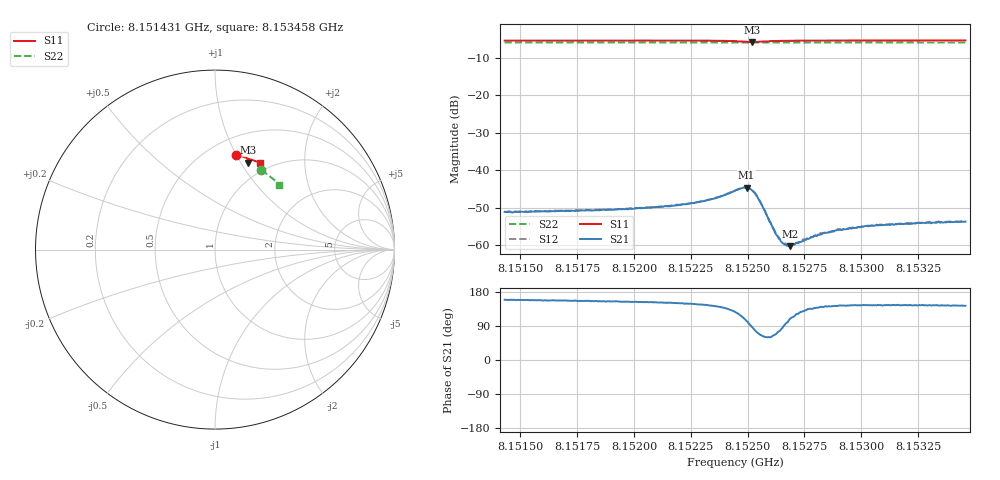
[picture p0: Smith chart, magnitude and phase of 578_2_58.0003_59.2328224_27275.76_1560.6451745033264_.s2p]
#  HZ  S  RI  R  50.00
! Rohde & Schwarz Vector Network Analyzer
! Rohde-Schwarz,ZNB20-2Port,1311601062101988,3.16
! Created: UTC 3/21/2024, 1:16:12 AM
! freq[Hz]  re:S11  im:S11  re:S21  im:S21  re:S12  im:S12  re:S22  im:S22
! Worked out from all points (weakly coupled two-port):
!   401 points, 8.151431 GHz to 8.153458 GHz, reference 50 ohm
!   highest |S21| = -44.64 dB at 8.152495 GHz (marker M1); lowest = -60.3 dB at 8.152688 GHz (marker M2)
!   lowest |S11| = -5.7 dB at 8.15252 GHz (marker M3), VSWR 3.15, Z = 40.5 + j53.7 ohm
!   |S11| at or under -10 dB: nowhere
!   |S22| runs from -5.9 to -5.8 dB; largest |S21 - S12| = 0.00013
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8.1514312e9  0.1193 0.5265  -0.00259 0.000988  -0.00258 0.00104  0.2572 0.4419
8.1517707e9  0.143 0.5211  -0.00264 0.00118  -0.00264 0.00126  0.2756 0.4301
8.1521101e9  0.1672 0.514  -0.00283 0.00155  -0.00286 0.00158  0.2934 0.4178
8.1523026e9  0.1822 0.5077  -0.00318 0.00214  -0.00319 0.00222  0.3032 0.4103
8.1523837e9  0.1894 0.5027  -0.0034 0.00291  -0.00338 0.00298  0.3075 0.4069
8.1524445e9  0.1936 0.4949  -0.00319 0.00426  -0.00315 0.00433  0.3102 0.4043
8.1524749e9  0.193 0.4888  -0.00239 0.00523  -0.00237 0.00529  0.3116 0.403
8.1524952e9  0.1895 0.4852  -0.00135 0.0057  -0.00128 0.00574  0.3125 0.4021
8.1525205e9  0.1828 0.4846  0.000349 0.00533  0.000446 0.0054  0.3133 0.4011
8.1525357e9  0.1795 0.4871  0.00113 0.00461  0.00118 0.00464  0.314 0.4007
8.152556e9  0.1778 0.4919  0.00151 0.00342  0.00159 0.00343  0.3149 0.4002
8.1526016e9  0.1819 0.4996  0.000976 0.00169  0.000971 0.00171  0.3174 0.3986
8.152632e9  0.1859 0.5016  0.00038 0.00125  0.000434 0.00124  0.319 0.3975
8.1526471e9  0.1879 0.5022  0.000175 0.00111  0.000185 0.00112  0.3198 0.397
8.1526623e9  0.1897 0.5025  -3.49e-05 0.00101  4.81e-06 0.00105  0.3205 0.3962
8.1526877e9  0.1925 0.5025  -0.000321 0.000908  -0.000262 0.000947  0.3219 0.3952
8.1527839e9  0.2018 0.5011  -0.000905 0.000907  -0.000893 0.000899  0.3266 0.3912
8.1528295e9  0.2055 0.5001  -0.00108 0.00092  -0.00109 0.000954  0.3288 0.3892
8.1528954e9  0.2105 0.4985  -0.00128 0.000981  -0.00126 0.000981  0.3319 0.3865
8.153017e9  0.2193 0.4952  -0.00146 0.00103  -0.00143 0.00105  0.3377 0.3811
8.1531234e9  0.2266 0.4924  -0.00152 0.00107  -0.00154 0.00112  0.3427 0.3768
8.1534578e9  0.2483 0.4826  -0.00164 0.00123  -0.00165 0.00125  0.3578 0.3616
